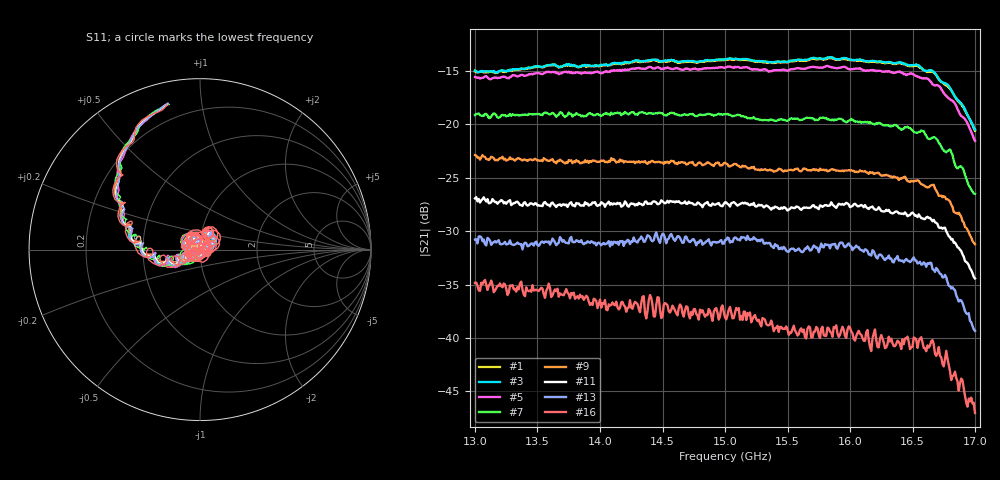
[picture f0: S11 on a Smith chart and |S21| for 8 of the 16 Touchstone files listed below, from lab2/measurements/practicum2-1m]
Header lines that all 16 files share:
!Keysight Technologies,P9374A,MY57211807,A.19.30.04
!Correction: S11(C  2-Port  )
!S21(C  2-Port  )
!S12(C  2-Port  )
!S22(C  2-Port  )
!S2P File: Measurements: S11, S21, S12, S22:
# Hz S  RI  R 50
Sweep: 13 GHz to 17 GHz
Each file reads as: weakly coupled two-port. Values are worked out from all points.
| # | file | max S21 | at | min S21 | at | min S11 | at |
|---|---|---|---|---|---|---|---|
| 1 | 0.s2p | -13.79 dB | 15.84 GHz | -20.6 dB | 17 GHz | -40.4 dB | 15.67 GHz |
| 2 | 1.s2p | -17.01 dB | 14.47 GHz | -24.5 dB | 17 GHz | -55.5 dB | 15.57 GHz |
| 3 | 2.s2p | -13.71 dB | 15.84 GHz | -20.5 dB | 17 GHz | -40.6 dB | 15.67 GHz |
| 4 | 4.s2p | -13.85 dB | 15.82 GHz | -20.7 dB | 17 GHz | -39.6 dB | 15.61 GHz |
| 5 | 6.s2p | -14.53 dB | 15.82 GHz | -21.5 dB | 17 GHz | -42.7 dB | 15.6 GHz |
| 6 | 8.s2p | -15.45 dB | 15.03 GHz | -22.7 dB | 17 GHz | -53.3 dB | 15.64 GHz |
| 7 | 12.s2p | -18.84 dB | 14.2 GHz | -26.5 dB | 17 GHz | -41.8 dB | 15.73 GHz |
| 8 | 14.s2p | -21.43 dB | 13.06 GHz | -29.7 dB | 17 GHz | -47.1 dB | 15.54 GHz |
| 9 | 16.s2p | -22.88 dB | 13 GHz | -31.2 dB | 17 GHz | -42.0 dB | 15.53 GHz |
| 10 | 18.s2p | -25.15 dB | 13.01 GHz | -33.1 dB | 17 GHz | -42.2 dB | 15.62 GHz |
| 11 | 20.s2p | -26.82 dB | 13.01 GHz | -34.4 dB | 17 GHz | -48.0 dB | 15.62 GHz |
| 12 | 22.s2p | -28.92 dB | 14.5 GHz | -36.8 dB | 16.99 GHz | -55.0 dB | 15.6 GHz |
| 13 | 24.s2p | -30.12 dB | 14.45 GHz | -39.3 dB | 17 GHz | -51.9 dB | 15.58 GHz |
| 14 | 26.s2p | -31.60 dB | 13.01 GHz | -42.8 dB | 16.99 GHz | -52.3 dB | 15.56 GHz |
| 15 | 28.s2p | -32.60 dB | 13.01 GHz | -44.9 dB | 17 GHz | -54.5 dB | 14.1 GHz |
| 16 | 30.s2p | -34.57 dB | 13.08 GHz | -47.0 dB | 17 GHz | -53.6 dB | 14.2 GHz |
